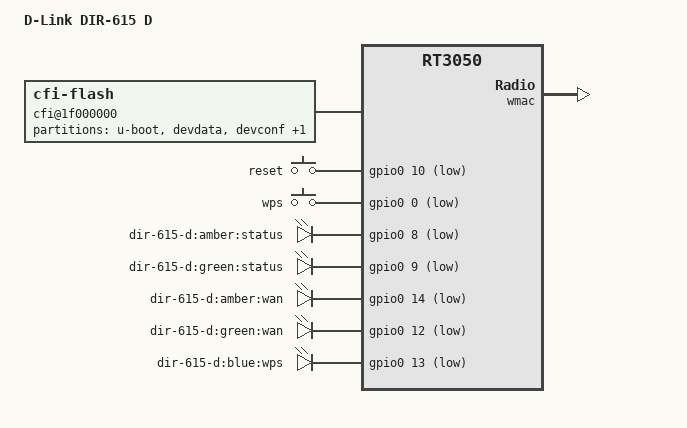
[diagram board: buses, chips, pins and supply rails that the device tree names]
/dts-v1/;

#include "rt3050.dtsi"

/ {
	compatible = "DIR-615-D", "ralink,rt3050-soc";
	model = "D-Link DIR-615 D";

	cfi@1f000000 {
		compatible = "cfi-flash";
		reg = <0x1f000000 0x800000>;
		bank-width = <2>;
		device-width = <2>;
		#address-cells = <1>;
		#size-cells = <1>;

		partition@0 {
			label = "u-boot";
			reg = <0x0 0x30000>;
			read-only;
		};

		devdata: partition@30000 {
			label = "devdata";
			reg = <0x30000 0x10000>;
			read-only;
		};

		partition@40000 {
			label = "devconf";
			reg = <0x40000 0x10000>;
			read-only;
		};

		partition@50000 {
			label = "firmware";
			reg = <0x50000 0x3b0000>;
		};
	};

	gpio-keys-polled {
		compatible = "gpio-keys-polled";
		#address-cells = <1>;
		#size-cells = <0>;
		poll-interval = <20>;

		reset {
			label = "reset";
			gpios = <&gpio0 10 1>;
			linux,code = <0x198>;
		};

		wps {
			label = "wps";
			gpios = <&gpio0 0 1>;
			linux,code = <0x211>;
		};
	};

	gpio-leds {
		compatible = "gpio-leds";

		status {
			label = "dir-615-d:amber:status";
			gpios = <&gpio0 8 1>;
		};

		status2 {
			label = "dir-615-d:green:status";
			gpios = <&gpio0 9 1>;
		};

		wan {
			label = "dir-615-d:amber:wan";
			gpios = <&gpio0 14 1>;
		};

		wan2 {
			label = "dir-615-d:green:wan";
			gpios = <&gpio0 12 1>;
		};

		wps {
			label = "dir-615-d:blue:wps";
			gpios = <&gpio0 13 1>;
		};
	};
};

&esw {
	mediatek,portmap = <0x2f>;
};

&wmac {
	ralink,mtd-eeprom = <&devdata 0x4000>;
};

&pinctrl {
	state_default: pinctrl0 {
		gpio {
			ralink,group = "i2c", "spi", "jtag", "mdio", "rgmii", "uartf";
			ralink,function = "gpio";
		};
	};
};


